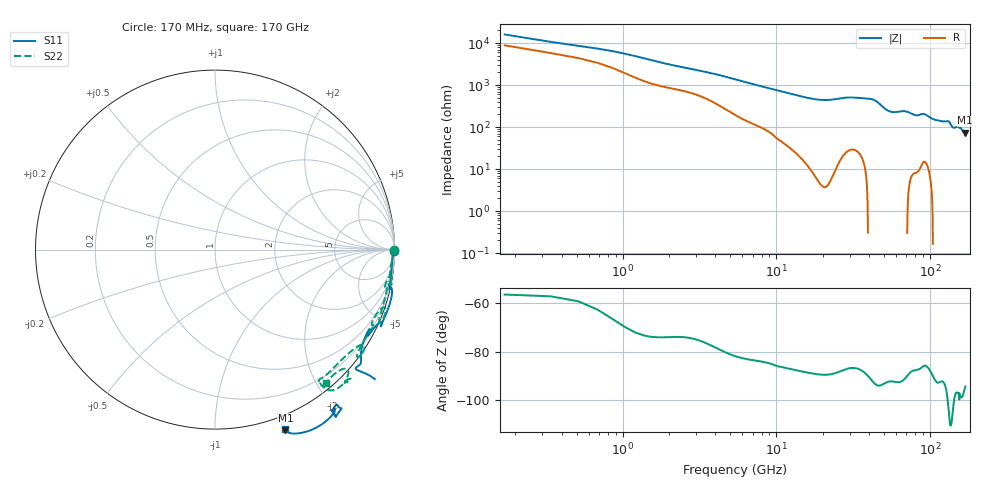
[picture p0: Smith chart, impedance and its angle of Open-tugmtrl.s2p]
!QAlibria Port Mapping:1,2
!QAlibria TraceName:S11,S21,S12,S22
# Hz S RI R 50
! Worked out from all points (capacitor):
!   1000 points, 170 MHz to 170 GHz, reference 50 ohm
!   read as one part to ground: C = 27.7 fF near 1.02 GHz
!   lowest |Z| = 73.1 ohm at 169.5 GHz (marker M1)
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1.7e8  0.9965 -0.00519  0 0  0 0  0.9964 -0.00445
1.513e10  0.9761 -0.1899  0 0  0 0  0.9745 -0.1914
2.856e10  0.971 -0.1943  0 0  0 0  0.9681 -0.1554
4.301e10  0.9856 -0.2238  0 0  0 0  0.9561 -0.2101
4.692e10  0.9804 -0.2786  0 0  0 0  0.9559 -0.2318
5.678e10  0.924 -0.4241  0 0  0 0  0.9146 -0.3996
7.055e10  0.9137 -0.4094  0 0  0 0  0.9398 -0.3205
8.517e10  0.857 -0.4687  0 0  0 0  0.8807 -0.4215
9.231e10  0.8559 -0.4485  0 0  0 0  0.8681 -0.4482
1.0353e11  0.8133 -0.573  0 0  0 0  0.7919 -0.596
1.1339e11  0.8069 -0.6412  0 0  0 0  0.8288 -0.5326
1.2274e11  0.7858 -0.6666  0 0  0 0  0.7127 -0.6072
1.2937e11  0.8478 -0.6946  0 0  0 0  0.6492 -0.6713
1.3481e11  0.9461 -0.8382  0 0  0 0  0.6155 -0.701
1.3838e11  0.8437 -0.9762  0 0  0 0  0.5818 -0.7228
1.4178e11  0.7084 -0.9656  0 0  0 0  0.5861 -0.7431
1.4518e11  0.6631 -0.9078  0 0  0 0  0.6161 -0.7755
1.5045e11  0.6764 -0.866  0 0  0 0  0.6761 -0.7768
1.5793e11  0.6498 -0.9256  0 0  0 0  0.7433 -0.6876
1.6388e11  0.487 -1.02  0 0  0 0  0.6949 -0.6728
1.6949e11  0.3925 -1.004  0 0  0 0  0.6234 -0.7396
1.7e11  0.391 -0.9997  0 0  0 0  0.6197 -0.7458
